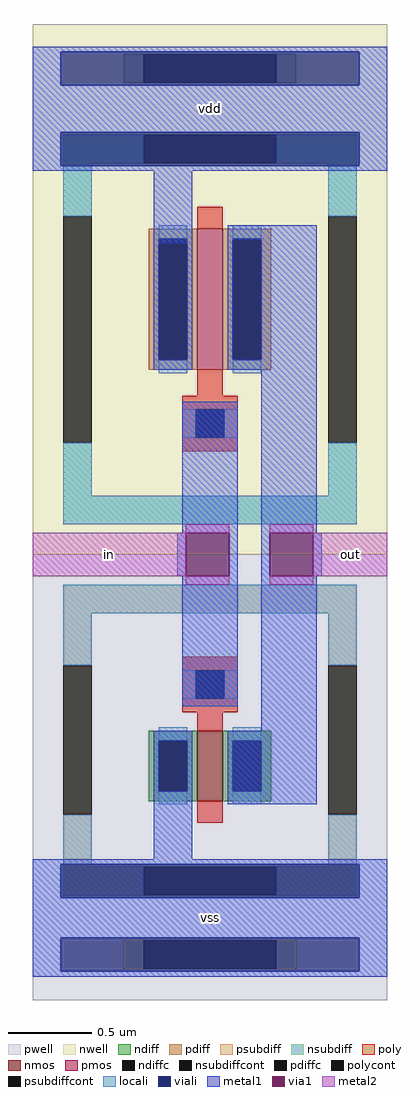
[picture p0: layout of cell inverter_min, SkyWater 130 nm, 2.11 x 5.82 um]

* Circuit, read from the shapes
.subckt inverter_min vdd out in vss
XM1 out in vss vss sky130_fd_pr__nfet_01v8 w=0.42 l=0.15
XM2 out in vdd vdd sky130_fd_pr__pfet_01v8 w=0.84 l=0.15
.ends

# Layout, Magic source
magic
tech sky130A
magscale 1 2
<< nwell >>
rect -53 1083 369 1179
<< pwell >>
rect -53 112 355 124
rect -53 16 369 112
<< psubdiff >>
rect 55 53 79 87
rect 237 53 261 87
<< nsubdiff >>
rect 55 1109 79 1143
rect 237 1109 261 1143
<< psubdiffcont >>
rect 79 53 237 87
<< nsubdiffcont >>
rect 79 1109 237 1143
<< viali >>
rect -20 1143 336 1146
rect -20 1109 79 1143
rect 79 1109 237 1143
rect 237 1109 336 1143
rect -20 1106 336 1109
rect -20 1010 336 1050
rect -20 138 336 178
rect -20 87 336 90
rect -20 53 79 87
rect 79 53 237 87
rect 237 53 336 87
rect -20 50 336 53
<< metal1 >>
rect -53 1146 369 1152
rect -53 1106 -20 1146
rect 336 1106 369 1146
rect -53 1050 369 1106
rect -53 1010 -20 1050
rect 336 1010 369 1050
rect -53 1004 369 1010
rect 91 918 137 1004
rect 179 922 285 939
rect 125 573 191 729
rect 119 521 129 573
rect 181 521 191 573
rect 125 366 191 521
rect 219 573 285 922
rect 219 521 229 573
rect 281 521 291 573
rect 219 337 285 521
rect 91 184 137 257
rect 179 249 285 337
rect -53 178 369 184
rect -53 138 -20 178
rect 336 138 369 178
rect -53 90 369 138
rect -53 50 -20 90
rect 336 50 369 90
rect -53 44 369 50
<< via1 >>
rect 129 521 181 573
rect 229 521 281 573
<< metal2 >>
rect 129 573 181 583
rect -53 521 129 573
rect 129 511 181 521
rect 229 573 281 583
rect 281 521 369 573
rect 229 511 281 521
use sky130_fd_pr__pfet_01v8_6RX2PQ  XM2
transform 1 0 158 0 1 815
box -211 -268 211 268
use sky130_fd_pr__nfet_01v8_L78GGD  XM1
transform 1 0 158 0 1 326
box -211 -221 211 221
<< labels >>
rlabel metal2 281 521 369 573 1 out
port 2 n
rlabel metal2 -53 521 129 573 1 in
port 3 n
rlabel metal1 -53 90 369 138 1 vss
port 4 n
rlabel metal1 -53 1050 369 1106 1 vdd
port 1 n
<< end >>

# cell sky130_fd_pr__pfet_01v8_6RX2PQ: kit device sky130_fd_pr__pfet_01v8, w 0.84 l 0.15 m 1 nf 1 diffcov 100 polycov 100 guard 1 glc 1 grc 1 gtc 1 gbc 0 tbcov 100 rlcov 100 topc 0 botc 1 poverlap 0 doverlap 1 lmin 0.15 wmin 0.42 compatible {sky130_fd_pr__pfet_01v8 sky130_fd_pr__pfet_01v8_lvt sky130_fd_pr__pfet_01v8_hvt sky130_fd_pr__pfet_g5v0d10v5} full_metal 1 viasrc 100 viadrn 100 viagate 100 viagb 0 viagr 0 viagl 0 viagt 0

# cell sky130_fd_pr__nfet_01v8_L78GGD: kit device sky130_fd_pr__nfet_01v8, w 0.42 l 0.15 m 1 nf 1 diffcov 100 polycov 100 guard 1 glc 1 grc 1 gtc 0 gbc 1 tbcov 100 rlcov 100 topc 1 botc 0 poverlap 0 doverlap 1 lmin 0.15 wmin 0.42 compatible {sky130_fd_pr__nfet_01v8 sky130_fd_pr__nfet_01v8_lvt sky130_fd_bs_flash__special_sonosfet_star sky130_fd_pr__nfet_g5v0d10v5 sky130_fd_pr__nfet_05v0_nvt sky130_fd_pr__nfet_03v3_nvt} full_metal 1 viasrc 100 viadrn 100 viagate 100 viagb 0 viagr 0 viagl 0 viagt 0
